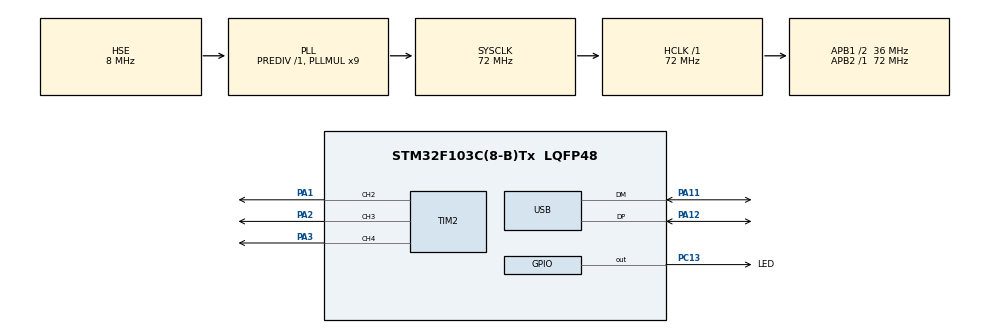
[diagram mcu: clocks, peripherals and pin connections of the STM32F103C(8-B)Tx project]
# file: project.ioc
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Mcu.Family=STM32F1
Mcu.Name=STM32F103C(8-B)Tx
Mcu.Package=LQFP48
NVIC.PriorityGroup=NVIC_PRIORITYGROUP_4
NVIC.USB_LP_CAN1_RX0_IRQn=true\:0\:0\:false\:false\:true
PA1.Signal=S_TIM2_CH2
PA11.Mode=Device
PA11.Signal=USB_DM
PA12.Mode=Device
PA12.Signal=USB_DP
PA13.Mode=Serial_Wire
PA13.Signal=SYS_JTMS-SWDIO
PA14.Mode=Serial_Wire
PA14.Signal=SYS_JTCK-SWCLK
PA2.Signal=S_TIM2_CH3
PA3.Signal=S_TIM2_CH4
PC13-TAMPER-RTC.GPIO_Label=LED
PC13-TAMPER-RTC.Signal=GPIO_Output
PD0-OSC_IN.Mode=HSE-External-Oscillator
PD0-OSC_IN.Signal=RCC_OSC_IN
PD1-OSC_OUT.Mode=HSE-External-Oscillator
PD1-OSC_OUT.Signal=RCC_OSC_OUT
ProjectManager.HeapSize=0x200
ProjectManager.StackSize=0x400
ProjectManager.TargetToolchain=SW4STM32
RCC.AHBCLKDivider=RCC_SYSCLK_DIV1
RCC.AHBFreq_Value=72000000
RCC.APB1CLKDivider=RCC_HCLK_DIV2
RCC.APB1Freq_Value=36000000
RCC.APB1TimFreq_Value=72000000
RCC.APB2CLKDivider=RCC_HCLK_DIV1
RCC.APB2Freq_Value=72000000
RCC.APB2TimFreq_Value=72000000
RCC.ClockTypeHCLK=RCC_CLOCKTYPE_HCLK
RCC.ClockTypePCLK1=RCC_CLOCKTYPE_PCLK1
RCC.ClockTypePCLK2=RCC_CLOCKTYPE_PCLK2
RCC.EnableHSE=true
RCC.EnableHSERTCDevisor=false
RCC.EnableLSE=false
RCC.EnableLSERTC=false
RCC.EnableMCOMultDivisor=false
RCC.HCLKFreq_Value=72000000
RCC.HSEState=RCC_HSE_ON
RCC.HSIState=RCC_HSI_ON
RCC.IWDGEnable=false
RCC.LSIState=RCC_LSI_OFF
RCC.MCOEnable=false
RCC.OscillatorTypeHSE=RCC_OSCILLATORTYPE_HSE
RCC.OscillatorTypeHSI=RCC_OSCILLATORTYPE_HSI
RCC.PLLMUL=RCC_PLL_MUL9
RCC.PLLSource=RCC_PLLSOURCE_HSE
RCC.PLLSourceVirtual=RCC_PLLSOURCE_HSE
RCC.PLLState=RCC_PLL_ON
RCC.RTCEnable=false
RCC.SYSCLKFreq_VALUE=72000000
RCC.SYSCLKSource=RCC_SYSCLKSOURCE_PLLCLK
RCC.TimSys_Div=SYSTICK_CLKSOURCE_HCLK
RCC.USBFreq_Value=48000000
RCC.USBPrescaler=RCC_USBCLKSOURCE_PLL_DIV1_5
SH.S_TIM2_CH2.0=TIM2_CH2,PWM Generation2 CH2
SH.S_TIM2_CH3.0=TIM2_CH3,PWM Generation3 CH3
SH.S_TIM2_CH4.0=TIM2_CH4,PWM Generation4 CH4
TIM2.Channel-PWM\ Generation2\ CH2=TIM_CHANNEL_2
TIM2.Channel-PWM\ Generation3\ CH3=TIM_CHANNEL_3
TIM2.Channel-PWM\ Generation4\ CH4=TIM_CHANNEL_4
USB_DEVICE.CLASS_NAME_FS=CDC
USB_DEVICE.USBD_HandleTypeDef_FS=hUsbDevice_USB_FS
USB_DEVICE.VirtualMode=Cdc
USB_DEVICE.VirtualModeFS=Cdc_FS
VP_USB_DEVICE_VS_USB_DEVICE_CDC_FS.Mode=CDC_FS
board=project

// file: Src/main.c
/**
  ******************************************************************************
  * File Name          : main.c
  * Description        : Main program body
  ******************************************************************************
  *
  * Copyright (c) 2017 STMicroelectronics International N.V.
  * All rights reserved.
  *
  * Redistribution and use in source and binary forms, with or without
  * modification, are permitted, provided that the following conditions are met:
  *
  * 1. Redistribution of source code must retain the above copyright notice,
  *    this list of conditions and the following disclaimer.
  * 2. Redistributions in binary form must reproduce the above copyright notice,
  *    this list of conditions and the following disclaimer in the documentation
  *    and/or other materials provided with the distribution.
  * 3. Neither the name of STMicroelectronics nor the names of other
  *    contributors to this software may be used to endorse or promote products
  *    derived from this software without specific written permission.
  * 4. This software, including modifications and/or derivative works of this
  *    software, must execute solely and exclusively on microcontroller or
  *    microprocessor devices manufactured by or for STMicroelectronics.
  * 5. Redistribution and use of this software other than as permitted under
  *    this license is void and will automatically terminate your rights under
  *    this license.
  *
  * THIS SOFTWARE IS PROVIDED BY STMICROELECTRONICS AND CONTRIBUTORS "AS IS"
  * AND ANY EXPRESS, IMPLIED OR STATUTORY WARRANTIES, INCLUDING, BUT NOT
  * LIMITED TO, THE IMPLIED WARRANTIES OF MERCHANTABILITY, FITNESS FOR A
  * PARTICULAR PURPOSE AND NON-INFRINGEMENT OF THIRD PARTY INTELLECTUAL PROPERTY
  * RIGHTS ARE DISCLAIMED TO THE FULLEST EXTENT PERMITTED BY LAW. IN NO EVENT
  * SHALL STMICROELECTRONICS OR CONTRIBUTORS BE LIABLE FOR ANY DIRECT, INDIRECT,
  * INCIDENTAL, SPECIAL, EXEMPLARY, OR CONSEQUENTIAL DAMAGES (INCLUDING, BUT NOT
  * LIMITED TO, PROCUREMENT OF SUBSTITUTE GOODS OR SERVICES; LOSS OF USE, DATA,
  * OR PROFITS; OR BUSINESS INTERRUPTION) HOWEVER CAUSED AND ON ANY THEORY OF
  * LIABILITY, WHETHER IN CONTRACT, STRICT LIABILITY, OR TORT (INCLUDING
  * NEGLIGENCE OR OTHERWISE) ARISING IN ANY WAY OUT OF THE USE OF THIS SOFTWARE,
  * EVEN IF ADVISED OF THE POSSIBILITY OF SUCH DAMAGE.
  *
  ******************************************************************************
  */
#include "main.h"
#include "stm32f1xx_hal.h"
#include "tim.h"
#include "usb_device.h"
#include "gpio.h"

/* USER CODE BEGIN Includes */
#include "usbd_cdc_if.h"
/* USER CODE END Includes */

/* USER CODE BEGIN PV */
/* Private variables ---------------------------------------------------------*/

/* USER CODE END PV */

void SystemClock_Config(void);
void Error_Handler(void);

/* USER CODE BEGIN PFP */
/* Private function prototypes -----------------------------------------------*/

/* USER CODE END PFP */

int main(void)
{

  /* MCU Configuration----------------------------------------------------------*/

  /* Reset of all peripherals, Initializes the Flash interface and the Systick. */
  HAL_Init();

  /* Configure the system clock */
  SystemClock_Config();

  /* Initialize all configured peripherals */
  MX_GPIO_Init();
  MX_USB_DEVICE_Init();
  MX_TIM2_Init();

  /* USER CODE BEGIN 2 */
  htim2.Init.Period = (0x1000 - 1);
  HAL_TIM_Base_Init(&htim2);

  HAL_TIM_PWM_Start(&htim2, TIM_CHANNEL_1);
  HAL_TIM_PWM_Start(&htim2, TIM_CHANNEL_2);
  HAL_TIM_PWM_Start(&htim2, TIM_CHANNEL_3);

  htim2.Instance->CCR1 = 0x500;
  htim2.Instance->CCR2 = 0x100;
  htim2.Instance->CCR3 = 0x900;

  HAL_TIM_Base_Start(&htim2);
  /* USER CODE END 2 */

  /* Infinite loop */
  while (1)
  {

  /* USER CODE BEGIN 3 */
	  uint8_t* buffer;
	  int bytes_count = circular_buffer_get_contiguous_data(&usb_cdc_rx_buffer, &buffer);
	  if (bytes_count > 0) {
		  switch (*buffer) {
		  case '1':
		  case 'y':
			  HAL_GPIO_WritePin(LED_GPIO_Port, LED_Pin, GPIO_PIN_RESET);
			  break;
		  case '0':
		  case 'n':
			  HAL_GPIO_WritePin(LED_GPIO_Port, LED_Pin, GPIO_PIN_SET);
			  break;
		  case ' ':
		  case '\r':
		  case '\n':
			  HAL_GPIO_TogglePin(LED_GPIO_Port, LED_Pin);
			  break;
		  }

		  CDC_Transmit_FS((uint8_t*) "\r\nEcho: ", 8);
		  CDC_Transmit_FS(buffer, bytes_count);
		  circular_buffer_drop_bytes(&usb_cdc_rx_buffer, bytes_count);
	  }
  }
  /* USER CODE END 3 */

}

/** System Clock Configuration
*/
void SystemClock_Config(void)
{

  RCC_OscInitTypeDef RCC_OscInitStruct;
  RCC_ClkInitTypeDef RCC_ClkInitStruct;
  RCC_PeriphCLKInitTypeDef PeriphClkInit;

    /**Initializes the CPU, AHB and APB busses clocks
    */
  RCC_OscInitStruct.OscillatorType = RCC_OSCILLATORTYPE_HSE;
  RCC_OscInitStruct.HSEState = RCC_HSE_ON;
  RCC_OscInitStruct.HSEPredivValue = RCC_HSE_PREDIV_DIV1;
  RCC_OscInitStruct.PLL.PLLState = RCC_PLL_ON;
  RCC_OscInitStruct.PLL.PLLSource = RCC_PLLSOURCE_HSE;
  RCC_OscInitStruct.PLL.PLLMUL = RCC_PLL_MUL9;
  if (HAL_RCC_OscConfig(&RCC_OscInitStruct) != HAL_OK)
  {
    Error_Handler();
  }

    /**Initializes the CPU, AHB and APB busses clocks
    */
  RCC_ClkInitStruct.ClockType = RCC_CLOCKTYPE_HCLK|RCC_CLOCKTYPE_SYSCLK
                              |RCC_CLOCKTYPE_PCLK1|RCC_CLOCKTYPE_PCLK2;
  RCC_ClkInitStruct.SYSCLKSource = RCC_SYSCLKSOURCE_PLLCLK;
  RCC_ClkInitStruct.AHBCLKDivider = RCC_SYSCLK_DIV1;
  RCC_ClkInitStruct.APB1CLKDivider = RCC_HCLK_DIV2;
  RCC_ClkInitStruct.APB2CLKDivider = RCC_HCLK_DIV1;

  if (HAL_RCC_ClockConfig(&RCC_ClkInitStruct, FLASH_LATENCY_2) != HAL_OK)
  {
    Error_Handler();
  }

  PeriphClkInit.PeriphClockSelection = RCC_PERIPHCLK_USB;
  PeriphClkInit.UsbClockSelection = RCC_USBCLKSOURCE_PLL_DIV1_5;
  if (HAL_RCCEx_PeriphCLKConfig(&PeriphClkInit) != HAL_OK)
  {
    Error_Handler();
  }

    /**Configure the Systick interrupt time
    */
  HAL_SYSTICK_Config(HAL_RCC_GetHCLKFreq()/1000);

    /**Configure the Systick
    */
  HAL_SYSTICK_CLKSourceConfig(SYSTICK_CLKSOURCE_HCLK);

  /* SysTick_IRQn interrupt configuration */
  HAL_NVIC_SetPriority(SysTick_IRQn, 0, 0);
}

void Error_Handler(void)
{
  while(1)
  {
  }
}

/************************ (C) COPYRIGHT STMicroelectronics *****END OF FILE****/
